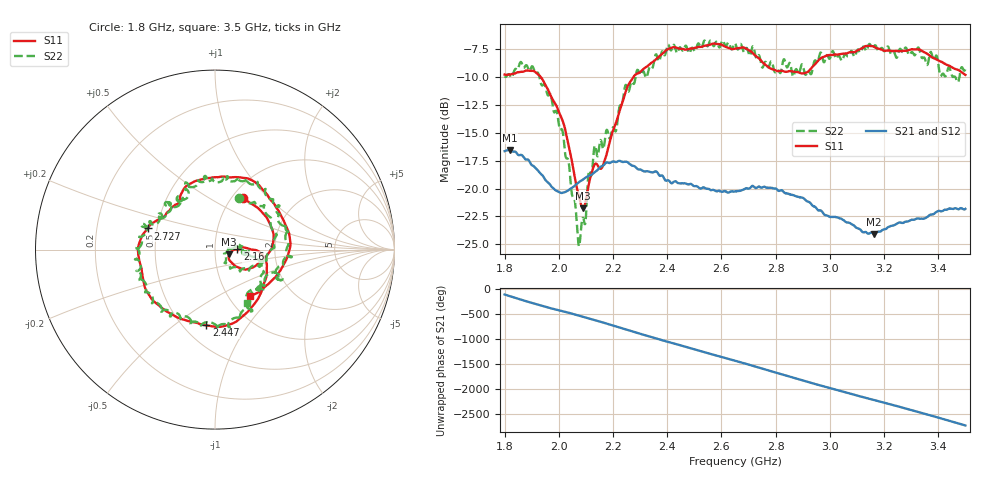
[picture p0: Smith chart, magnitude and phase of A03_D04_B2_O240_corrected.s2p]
! Created with skrf 1.9.0 (http://scikit-rf.org).
# Hz S RI R 50.0
!freq ReS11 ImS11 ReS21 ImS21 ReS12 ImS12 ReS22 ImS22
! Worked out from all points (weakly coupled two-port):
!   1601 points, 1.8 GHz to 3.5 GHz, reference 50 ohm
!   highest |S21| = -16.53 dB at 1.819 GHz (marker M1); lowest = -24.1 dB at 3.163 GHz (marker M2)
!   lowest |S11| = -21.8 dB at 2.09 GHz (marker M3), VSWR 1.18, Z = 58.2 - j3.14 ohm
!   |S11| at or under -10 dB: 1.934 GHz to 2.275 GHz (340.5 MHz wide, 16.2 % of centre)
!   |S22| runs from -25.2 to -6.7 dB; largest |S21 - S12| = 0.0024
!   S11 on the Smith chart (normalised r, x): 1.8 GHz: 1.12, +0.72; 2.16 GHz: 1.28, +0.01; 2.447 GHz: 0.64, -0.66; 2.727 GHz: 0.44, +0.12; 3.5 GHz: 1.26, -0.72
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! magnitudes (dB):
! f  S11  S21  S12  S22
! 1.8 GHz  -9.8  -16.6  -16.6  -9.9
! 1.819 GHz  -9.7  -16.5  -16.5  -9.8
! 1.903 GHz  -9.4  -17.9  -17.9  -9.0
! 1.968 GHz  -11.5  -19.7  -19.7  -11.5
! 2.015 GHz  -13.9  -20.4  -20.4  -14.9
! 2.072 GHz  -20.5  -19.5  -19.5  -24.9
! 2.084 GHz  -21.6  -19.3  -19.2  -23.2
! 2.09 GHz  -21.8  -19.2  -19.2  -22.6
! 2.13 GHz  -17.9  -18.6  -18.6  -16.4
! 2.16 GHz  -18.1  -18.0  -17.9  -16.2
! 2.209 GHz  -14.2  -17.6  -17.6  -14.9
! 2.258 GHz  -10.6  -17.7  -17.7  -11.3
! 2.367 GHz  -8.2  -18.7  -18.6  -8.5
! 2.447 GHz  -7.4  -19.5  -19.5  -7.3
! 2.65 GHz  -7.4  -20.3  -20.2  -7.0
! 2.727 GHz  -8.1  -20.0  -19.9  -8.2
! 2.934 GHz  -9.1  -21.5  -21.4  -9.6
! 3.163 GHz  -7.3  -24.1  -24.0  -7.2
! 3.217 GHz  -7.6  -23.4  -23.4  -7.4
! 3.376 GHz  -8.2  -22.3  -22.3  -7.9
! 3.468 GHz  -9.3  -21.8  -21.8  -10.3
! 3.5 GHz  -9.8  -21.8  -21.8  -9.2
